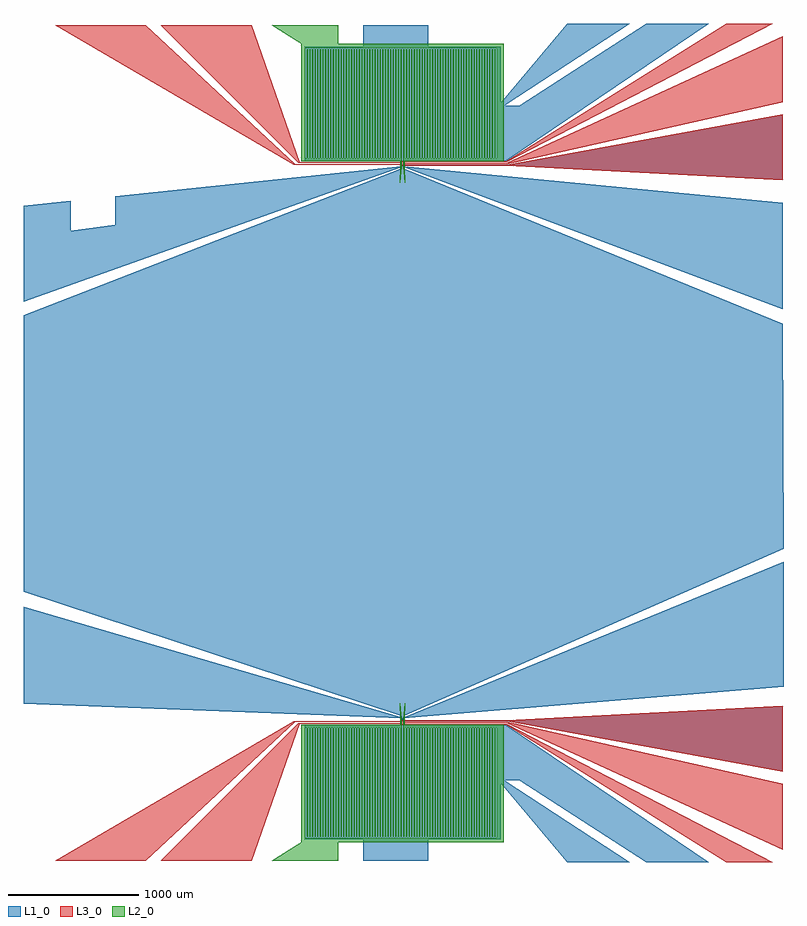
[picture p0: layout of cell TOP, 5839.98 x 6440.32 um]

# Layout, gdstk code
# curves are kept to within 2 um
import gdstk
lib = gdstk.Library(unit=1e-6, precision=1e-09)
def P(c, l, *ps):  # polygons
    for p in ps: c.add(gdstk.Polygon(p, *l))
L1_0 = (1, 0)
L2_0 = (2, 0)
L3_0 = (3, 0)

top = lib.new_cell('TOP')
P(top, L1_0, [(5.5,-2116.61),(5.5,2127.921),(2920.788,1846.205),(2920.788,1028.978),(11.5,2119.148),(11.512,-2108.099),(2927.546,-912.339),(2927.546,-1873.894)],
  [(-753,2591.721),(-753,2621.721),(763,2621.721),(1267.316,3220.16),(1745.325,3220.16),(783,2591.721)],
  [(-753,2623.221),(-753,3045.221),(-301.363,3045.221),(-301.363,3211.38),(198.381,3211.38),(198.381,3045.79),(753,3049.587),(753,2623.221)],
  [(-753,2165.421),(-753,2590.221),(896.773,2590.221),(1872.505,3220.16),(2354.862,3220.16),(791.977,2165.421)],
  [(1267.316,-3220.16),(763,-2621.721),(-753,-2621.721),(-753,-2591.721),(783,-2591.721),(1745.325,-3220.16)],
  [(-301.363,-3211.38),(-301.363,-3045.221),(-753,-3045.221),(-753,-2623.221),(753,-2623.221),(753,-3049.587),(198.381,-3045.79),(198.381,-3211.38)],
  [(1872.505,-3220.16),(896.773,-2590.221),(-753,-2590.221),(-753,-2165.421),(791.977,-2165.421),(2354.862,-3220.16)],
  [(14.5,-2096.546),(14.5,2107.462),(2920.788,918.116),(2927.546,-813.817)],
  [(-14.5,-2096.546),(-2912.435,-1141.345),(-2912.435,981.182),(-14.5,2107.462)],
  [(2920.788,-2525.611),(803,-2136.421),(-14,-2136.421),(-14,-2130.921),(-3,-2130.921),(-3,2130.921),(-14,2130.921),(-14,2136.421),(803,2136.421),(2920.788,2525.611),(2920.788,2019.711),(802.778,2130.921),(3,2130.921),(3,-2130.921),(802.778,-2130.921),(2920.788,-2019.711)],
  [(-5.5,-2116.61),(-2912.435,-2003.736),(-2912.435,-1260.077),(-11.5,-2108.099),(-11.5,2119.148),(-2912.435,1083.738),(-2912.435,1824.309),(-2550.004,1862.163),(-2550.004,1632.163),(-2208.295,1675.187),(-2208.295,1897.852),(-5.5,2127.921)])
P(top, L2_0, [(-19.5,2001),(-18,2166.873),(-779.04,2166.873),(-779.04,3068.856),(-1004.798,3211.38),(-494.229,3211.38),(-494.229,3068.856),(778,3068.856),(778,2166.873),(18,2166.873),(19.5,2001),(17.5,2001),(5,2121),(5,3025.221),(16,3025.221),(16,2188.315),(26,2188.315),(26,3025.221),(36,3025.221),(36,2188.315),(46,2188.315),(46,3025.221),(56,3025.221),(56,2188.315),(66,2188.315),(66,3025.221),(76,3025.221),(76,2188.315),(86,2188.315),(86,3025.221),(96,3025.221),(96,2188.315),(106,2188.315),(106,3025.221),(116,3025.221),(116,2188.315),(126,2188.315),(126,3025.221),(136,3025.221),(136,2188.315),(146,2188.315),(146,3025.221),(156,3025.221),(156,2188.315),(166,2188.315),(166,3025.221),(176,3025.221),(176,2188.315),(186,2188.315),(186,3025.221),(196,3025.221),(196,2188.315),(206,2188.315),(206,3025.221),(216,3025.221),(216,2188.315),(226,2188.315),(226,3025.221),(236,3025.221),(236,2188.315),(246,2188.315),(246,3025.221),(256,3025.221),(256,2188.315),(266,2188.315),(266,3025.221),(276,3025.221),(276,2188.315),(286,2188.315),(286,3025.221),(296,3025.221),(296,2188.315),(306,2188.315),(306,3025.221),(316,3025.221),(316,2188.315),(326,2188.315),(326,3025.221),(336,3025.221),(336,2188.315),(346,2188.315),(346,3025.221),(356,3025.221),(356,2188.315),(366,2188.315),(366,3025.221),(376,3025.221),(376,2188.315),(386,2188.315),(386,3025.221),(396,3025.221),(396,2188.315),(406,2188.315),(406,3025.221),(416,3025.221),(416,2188.315),(426,2188.315),(426,3025.221),(436,3025.221),(436,2188.315),(446,2188.315),(446,3025.221),(456,3025.221),(456,2188.315),(466,2188.315),(466,3025.221),(476,3025.221),(476,2188.315),(486,2188.315),(486,3025.221),(496,3025.221),(496,2188.315),(506,2188.315),(506,3025.221),(516,3025.221),(516,2188.315),(526,2188.315),(526,3025.221),(536,3025.221),(536,2188.315),(546,2188.315),(546,3025.221),(556,3025.221),(556,2188.315),(566,2188.315),(566,3025.221),(576,3025.221),(576,2188.315),(586,2188.315),(586,3025.221),(596,3025.221),(596,2188.315),(606,2188.315),(606,3025.221),(616,3025.221),(616,2188.315),(626,2188.315),(626,3025.221),(636,3025.221),(636,2188.315),(646,2188.315),(646,3025.221),(656,3025.221),(656,2188.315),(666,2188.315),(666,3025.221),(676,3025.221),(676,2188.315),(686,2188.315),(686,3025.221),(696,3025.221),(696,2188.315),(706,2188.315),(706,3025.221),(716,3025.221),(716,2188.315),(726,2188.315),(726,3035.221),(-746,3035.221),(-746,2188.315),(-736,2188.315),(-736,3025.221),(-726,3025.221),(-726,2188.315),(-716,2188.315),(-716,3025.221),(-706,3025.221),(-706,2188.315),(-696,2188.315),(-696,3025.221),(-686,3025.221),(-686,2188.315),(-676,2188.315),(-676,3025.221),(-666,3025.221),(-666,2188.315),(-656,2188.315),(-656,3025.221),(-646,3025.221),(-646,2188.315),(-636,2188.315),(-636,3025.221),(-626,3025.221),(-626,2188.315),(-616,2188.315),(-616,3025.221),(-606,3025.221),(-606,2188.315),(-596,2188.315),(-596,3025.221),(-586,3025.221),(-586,2188.315),(-576,2188.315),(-576,3025.221),(-566,3025.221),(-566,2188.315),(-556,2188.315),(-556,3025.221),(-546,3025.221),(-546,2188.315),(-536,2188.315),(-536,3025.221),(-526,3025.221),(-526,2188.315),(-516,2188.315),(-516,3025.221),(-506,3025.221),(-506,2188.315),(-496,2188.315),(-496,3025.221),(-486,3025.221),(-486,2188.315),(-476,2188.315),(-476,3025.221),(-466,3025.221),(-466,2188.315),(-456,2188.315),(-456,3025.221),(-446,3025.221),(-446,2188.315),(-436,2188.315),(-436,3025.221),(-426,3025.221),(-426,2188.315),(-416,2188.315),(-416,3025.221),(-406,3025.221),(-406,2188.315),(-396,2188.315),(-396,3025.221),(-386,3025.221),(-386,2188.315),(-376,2188.315),(-376,3025.221),(-366,3025.221),(-366,2188.315),(-356,2188.315),(-356,3025.221),(-346,3025.221),(-346,2188.315),(-336,2188.315),(-336,3025.221),(-326,3025.221),(-326,2188.315),(-316,2188.315),(-316,3025.221),(-306,3025.221),(-306,2188.315),(-296,2188.315),(-296,3025.221),(-286,3025.221),(-286,2188.315),(-276,2188.315),(-276,3025.221),(-266,3025.221),(-266,2188.315),(-256,2188.315),(-256,3025.221),(-246,3025.221),(-246,2188.315),(-236,2188.315),(-236,3025.221),(-226,3025.221),(-226,2188.315),(-216,2188.315),(-216,3025.221),(-206,3025.221),(-206,2188.315),(-196,2188.315),(-196,3025.221),(-186,3025.221),(-186,2188.315),(-176,2188.315),(-176,3025.221),(-166,3025.221),(-166,2188.315),(-156,2188.315),(-156,3025.221),(-146,3025.221),(-146,2188.315),(-136,2188.315),(-136,3025.221),(-126,3025.221),(-126,2188.315),(-116,2188.315),(-116,3025.221),(-106,3025.221),(-106,2188.315),(-96,2188.315),(-96,3025.221),(-86,3025.221),(-86,2188.315),(-76,2188.315),(-76,3025.221),(-66,3025.221),(-66,2188.315),(-56,2188.315),(-56,3025.221),(-46,3025.221),(-46,2188.315),(-36,2188.315),(-36,3025.221),(-26,3025.221),(-26,2188.315),(-16,2188.315),(-16,3025.221),(-5,3025.221),(-5,2121),(-17.5,2001)],
  [(-1004.798,-3211.38),(-779.04,-3068.856),(-779.04,-2166.873),(-18,-2166.873),(-19.5,-2001),(-17.5,-2001),(-5,-2121),(-5,-3025.221),(-16,-3025.221),(-16,-2188.315),(-26,-2188.315),(-26,-3025.221),(-36,-3025.221),(-36,-2188.315),(-46,-2188.315),(-46,-3025.221),(-56,-3025.221),(-56,-2188.315),(-66,-2188.315),(-66,-3025.221),(-76,-3025.221),(-76,-2188.315),(-86,-2188.315),(-86,-3025.221),(-96,-3025.221),(-96,-2188.315),(-106,-2188.315),(-106,-3025.221),(-116,-3025.221),(-116,-2188.315),(-126,-2188.315),(-126,-3025.221),(-136,-3025.221),(-136,-2188.315),(-146,-2188.315),(-146,-3025.221),(-156,-3025.221),(-156,-2188.315),(-166,-2188.315),(-166,-3025.221),(-176,-3025.221),(-176,-2188.315),(-186,-2188.315),(-186,-3025.221),(-196,-3025.221),(-196,-2188.315),(-206,-2188.315),(-206,-3025.221),(-216,-3025.221),(-216,-2188.315),(-226,-2188.315),(-226,-3025.221),(-236,-3025.221),(-236,-2188.315),(-246,-2188.315),(-246,-3025.221),(-256,-3025.221),(-256,-2188.315),(-266,-2188.315),(-266,-3025.221),(-276,-3025.221),(-276,-2188.315),(-286,-2188.315),(-286,-3025.221),(-296,-3025.221),(-296,-2188.315),(-306,-2188.315),(-306,-3025.221),(-316,-3025.221),(-316,-2188.315),(-326,-2188.315),(-326,-3025.221),(-336,-3025.221),(-336,-2188.315),(-346,-2188.315),(-346,-3025.221),(-356,-3025.221),(-356,-2188.315),(-366,-2188.315),(-366,-3025.221),(-376,-3025.221),(-376,-2188.315),(-386,-2188.315),(-386,-3025.221),(-396,-3025.221),(-396,-2188.315),(-406,-2188.315),(-406,-3025.221),(-416,-3025.221),(-416,-2188.315),(-426,-2188.315),(-426,-3025.221),(-436,-3025.221),(-436,-2188.315),(-446,-2188.315),(-446,-3025.221),(-456,-3025.221),(-456,-2188.315),(-466,-2188.315),(-466,-3025.221),(-476,-3025.221),(-476,-2188.315),(-486,-2188.315),(-486,-3025.221),(-496,-3025.221),(-496,-2188.315),(-506,-2188.315),(-506,-3025.221),(-516,-3025.221),(-516,-2188.315),(-526,-2188.315),(-526,-3025.221),(-536,-3025.221),(-536,-2188.315),(-546,-2188.315),(-546,-3025.221),(-556,-3025.221),(-556,-2188.315),(-566,-2188.315),(-566,-3025.221),(-576,-3025.221),(-576,-2188.315),(-586,-2188.315),(-586,-3025.221),(-596,-3025.221),(-596,-2188.315),(-606,-2188.315),(-606,-3025.221),(-616,-3025.221),(-616,-2188.315),(-626,-2188.315),(-626,-3025.221),(-636,-3025.221),(-636,-2188.315),(-646,-2188.315),(-646,-3025.221),(-656,-3025.221),(-656,-2188.315),(-666,-2188.315),(-666,-3025.221),(-676,-3025.221),(-676,-2188.315),(-686,-2188.315),(-686,-3025.221),(-696,-3025.221),(-696,-2188.315),(-706,-2188.315),(-706,-3025.221),(-716,-3025.221),(-716,-2188.315),(-726,-2188.315),(-726,-3025.221),(-736,-3025.221),(-736,-2188.315),(-746,-2188.315),(-746,-3035.221),(726,-3035.221),(726,-2188.315),(716,-2188.315),(716,-3025.221),(706,-3025.221),(706,-2188.315),(696,-2188.315),(696,-3025.221),(686,-3025.221),(686,-2188.315),(676,-2188.315),(676,-3025.221),(666,-3025.221),(666,-2188.315),(656,-2188.315),(656,-3025.221),(646,-3025.221),(646,-2188.315),(636,-2188.315),(636,-3025.221),(626,-3025.221),(626,-2188.315),(616,-2188.315),(616,-3025.221),(606,-3025.221),(606,-2188.315),(596,-2188.315),(596,-3025.221),(586,-3025.221),(586,-2188.315),(576,-2188.315),(576,-3025.221),(566,-3025.221),(566,-2188.315),(556,-2188.315),(556,-3025.221),(546,-3025.221),(546,-2188.315),(536,-2188.315),(536,-3025.221),(526,-3025.221),(526,-2188.315),(516,-2188.315),(516,-3025.221),(506,-3025.221),(506,-2188.315),(496,-2188.315),(496,-3025.221),(486,-3025.221),(486,-2188.315),(476,-2188.315),(476,-3025.221),(466,-3025.221),(466,-2188.315),(456,-2188.315),(456,-3025.221),(446,-3025.221),(446,-2188.315),(436,-2188.315),(436,-3025.221),(426,-3025.221),(426,-2188.315),(416,-2188.315),(416,-3025.221),(406,-3025.221),(406,-2188.315),(396,-2188.315),(396,-3025.221),(386,-3025.221),(386,-2188.315),(376,-2188.315),(376,-3025.221),(366,-3025.221),(366,-2188.315),(356,-2188.315),(356,-3025.221),(346,-3025.221),(346,-2188.315),(336,-2188.315),(336,-3025.221),(326,-3025.221),(326,-2188.315),(316,-2188.315),(316,-3025.221),(306,-3025.221),(306,-2188.315),(296,-2188.315),(296,-3025.221),(286,-3025.221),(286,-2188.315),(276,-2188.315),(276,-3025.221),(266,-3025.221),(266,-2188.315),(256,-2188.315),(256,-3025.221),(246,-3025.221),(246,-2188.315),(236,-2188.315),(236,-3025.221),(226,-3025.221),(226,-2188.315),(216,-2188.315),(216,-3025.221),(206,-3025.221),(206,-2188.315),(196,-2188.315),(196,-3025.221),(186,-3025.221),(186,-2188.315),(176,-2188.315),(176,-3025.221),(166,-3025.221),(166,-2188.315),(156,-2188.315),(156,-3025.221),(146,-3025.221),(146,-2188.315),(136,-2188.315),(136,-3025.221),(126,-3025.221),(126,-2188.315),(116,-2188.315),(116,-3025.221),(106,-3025.221),(106,-2188.315),(96,-2188.315),(96,-3025.221),(86,-3025.221),(86,-2188.315),(76,-2188.315),(76,-3025.221),(66,-3025.221),(66,-2188.315),(56,-2188.315),(56,-3025.221),(46,-3025.221),(46,-2188.315),(36,-2188.315),(36,-3025.221),(26,-3025.221),(26,-2188.315),(16,-2188.315),(16,-3025.221),(5,-3025.221),(5,-2121),(17.5,-2001),(19.5,-2001),(18,-2166.873),(778,-2166.873),(778,-3068.856),(-494.229,-3068.856),(-494.229,-3211.38)])
P(top, L3_0, [(-16.686,2159.621),(-16.686,2164.621),(795.367,2164.621),(2485.946,3220.16),(2846.804,3220.16),(802.869,2159.621)],
  [(-16.686,2143.021),(-16.686,2153.021),(803,2153.021),(2920.788,3126.47),(2920.788,2620.25),(803,2143.021)],
  [(-803,2153.821),(-1855.866,3211.38),(-1158.698,3211.38),(-788,2158.821),(16.478,2158.821),(16.478,2153.821)],
  [(-833.885,2137.221),(-2667.861,3211.38),(-1973.068,3211.38),(-823,2142.221),(16.478,2142.221),(16.478,2137.221)],
  [(2485.946,-3220.16),(795.367,-2164.621),(-16.686,-2164.621),(-16.686,-2159.621),(802.869,-2159.621),(2846.804,-3220.16)],
  [(2920.788,-3126.47),(803,-2153.021),(-16.686,-2153.021),(-16.686,-2143.021),(803,-2143.021),(2920.788,-2620.25)],
  [(-1855.866,-3211.38),(-803,-2153.821),(16.478,-2153.821),(16.478,-2158.821),(-788,-2158.821),(-1158.698,-3211.38)],
  [(-2667.861,-3211.38),(-833.885,-2137.221),(16.478,-2137.221),(16.478,-2142.221),(-823,-2142.221),(-1973.068,-3211.38)],
  [(2920.788,2019.711),(802.728,2131.421),(-14,2131.421),(-14,2136.421),(803,2136.421),(2920.788,2525.611)],
  [(2920.788,-2525.611),(803,-2136.421),(-14,-2136.421),(-14,-2131.421),(802.728,-2131.421),(2920.788,-2019.711)])

lib.write_gds('TOP.gds')
